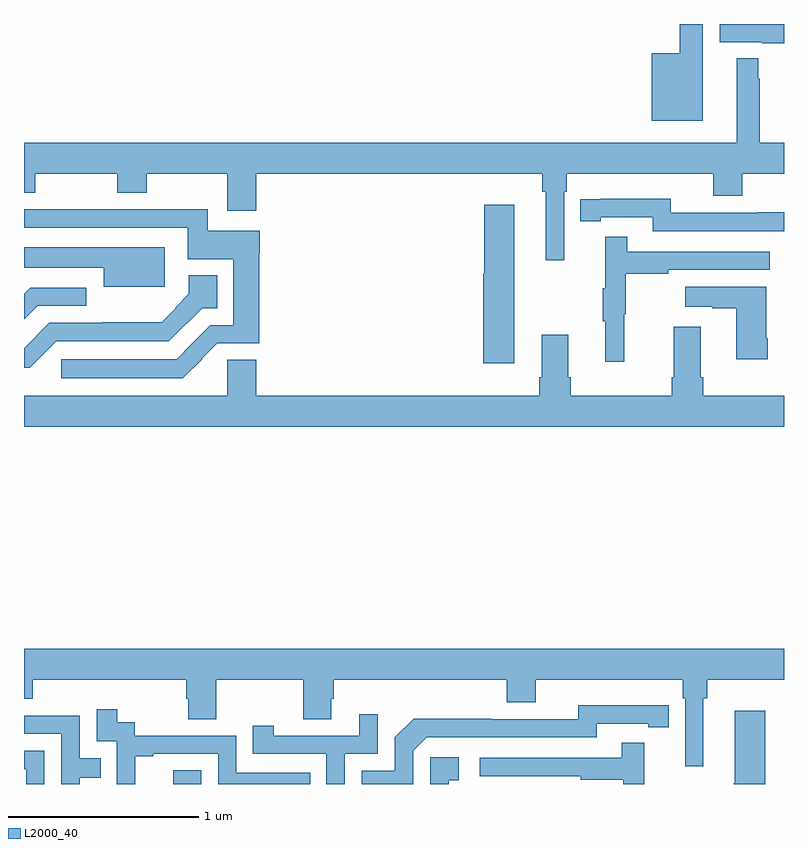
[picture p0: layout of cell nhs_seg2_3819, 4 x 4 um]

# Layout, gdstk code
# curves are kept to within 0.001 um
import gdstk
lib = gdstk.Library(unit=1e-6, precision=1e-09)
def R(c, l, rs):  # rectangles x0, y0, x1, y1
    for r in rs: c.add(gdstk.rectangle(r[:2], r[2:], *l))
def P(c, l, *ps):  # polygons
    for p in ps: c.add(gdstk.Polygon(p, *l))
L2000_40 = (2000, 40)

nhs_seg2_3819 = lib.new_cell('nhs_seg2_3819')
R(nhs_seg2_3819, L2000_40, [(313.785,601.8,313.932,601.873)])
P(nhs_seg2_3819, L2000_40, [(317,605.8),(316.661,605.8),(316.661,605.705),(316.884,605.705),(316.884,605.699),(317,605.699)],
  [(316.573,605.8),(316.452,605.8),(316.452,605.647),(316.304,605.647),(316.304,605.291),(316.573,605.291)],
  [(315.843,604.916),(315.857,604.916),(315.857,605.012),(316.628,605.012),(316.628,604.895),(316.781,604.895),(316.781,605.012),(317,605.012),(317,605.176),(316.873,605.176),(316.873,605.513),(316.865,605.513),(316.865,605.62),(316.751,605.62),(316.751,605.176),(313,605.176),(313,604.913),(313.059,604.913),(313.059,605.012),(313.492,605.012),(313.492,604.913),(313.647,604.913),(313.647,605.012),(314.069,605.012),(314.069,604.818),(314.222,604.818),(314.222,605.012),(315.727,605.012),(315.727,604.916),(315.746,604.916),(315.746,604.557),(315.843,604.557)],
  [(317,604.808),(316.864,604.808),(316.864,604.806),(316.404,604.806),(316.404,604.879),(316.036,604.879),(316.036,604.878),(315.928,604.878),(315.928,604.762),(316.036,604.762),(316.036,604.782),(316.308,604.782),(316.308,604.71),(317,604.71)],
  [(315.58,604.849),(315.422,604.849),(315.422,604.485),(315.416,604.485),(315.416,604.014),(315.58,604.014)],
  [(313.937,604.036),(313.935,604.038),(314.016,604.119),(314.237,604.119),(314.237,604.593),(314.242,604.593),(314.242,604.711),(313.966,604.711),(313.966,604.826),(313.735,604.826),(313.735,604.824),(313.403,604.824),(313.403,604.826),(313.147,604.826),(313.147,604.824),(313,604.824),(313,604.728),(313.862,604.728),(313.862,604.562),(314.102,604.562),(314.102,604.215),(313.979,604.215),(313.882,604.118),(313.884,604.116),(313.803,604.035),(313.197,604.035),(313.197,603.935),(313.836,603.935)],
  [(316.16,604.272),(316.168,604.272),(316.168,604.486),(316.391,604.486),(316.391,604.506),(316.924,604.506),(316.924,604.602),(316.175,604.602),(316.175,604.681),(316.058,604.681),(316.058,604.409),(316.047,604.409),(316.047,604.235),(316.058,604.235),(316.058,604.023),(316.16,604.023)],
  [(313.74,604.624),(313,604.624),(313,604.517),(313.421,604.517),(313.421,604.418),(313.74,604.418)],
  [(313.17,604.131),(313.762,604.131),(313.937,604.304),(314.017,604.304),(314.017,604.477),(313.868,604.477),(313.868,604.379),(313.795,604.306),(313.798,604.303),(313.724,604.229),(313.414,604.229),(313.414,604.227),(313.134,604.227),(313,604.093),(313,603.992),(313.031,603.992)],
  [(316.914,604.147),(316.906,604.147),(316.906,604.417),(316.479,604.417),(316.479,604.313),(316.622,604.313),(316.622,604.303),(316.748,604.303),(316.748,604.035),(316.914,604.035)],
  [(313.072,604.317),(313.327,604.317),(313.327,604.413),(313.032,604.413),(313,604.381),(313,604.245)],
  [(317,603.844),(316.574,603.844),(316.574,603.94),(316.561,603.94),(316.561,604.207),(316.421,604.207),(316.421,603.94),(316.409,603.94),(316.409,603.844),(315.878,603.844),(315.878,603.94),(315.865,603.94),(315.865,604.165),(315.725,604.165),(315.725,603.94),(315.713,603.94),(315.713,603.844),(314.222,603.844),(314.222,604.034),(314.07,604.034),(314.07,603.844),(313,603.844),(313,603.68),(317,603.68)],
  [(316.576,602.252),(316.595,602.252),(316.595,602.348),(317,602.348),(317,602.512),(313,602.512),(313,602.249),(313.046,602.249),(313.046,602.348),(313.853,602.348),(313.853,602.25),(313.865,602.25),(313.865,602.14),(314.013,602.14),(314.013,602.348),(314.47,602.348),(314.47,602.14),(314.617,602.14),(314.617,602.25),(314.63,602.25),(314.63,602.348),(315.542,602.348),(315.542,602.231),(315.694,602.231),(315.694,602.348),(316.466,602.348),(316.466,602.252),(316.479,602.252),(316.479,601.893),(316.576,601.893)],
  [(315.048,601.974),(315.12,602.046),(316.014,602.046),(316.014,602.118),(316.286,602.118),(316.286,602.098),(316.394,602.098),(316.394,602.214),(315.918,602.215),(315.918,602.142),(315.458,602.142),(315.458,602.144),(315.05,602.144),(314.952,602.046),(314.952,601.869),(314.778,601.869),(314.778,601.8),(315.048,601.8)],
  [(313.586,601.947),(313.681,601.947),(313.681,601.959),(314.022,601.959),(314.022,601.8),(314.507,601.8),(314.507,601.86),(314.118,601.86),(314.118,602.055),(313.584,602.055),(313.584,602.124),(313.492,602.124),(313.492,602.194),(313.383,602.194),(313.383,602.025),(313.488,602.025),(313.488,601.8),(313.586,601.8)],
  [(316.901,602.185),(316.742,602.185),(316.742,601.805),(316.735,601.805),(316.735,601.8),(316.901,601.8)],
  [(314.688,601.959),(314.862,601.959),(314.862,602.167),(314.765,602.167),(314.765,602.055),(314.314,602.055),(314.314,602.107),(314.203,602.107),(314.203,601.959),(314.592,601.959),(314.592,601.8),(314.688,601.8)],
  [(313.293,601.834),(313.403,601.834),(313.403,601.935),(313.293,601.935),(313.293,602.16),(313,602.16),(313,602.064),(313.197,602.064),(313.197,601.8),(313.293,601.8)],
  [(316.265,602.017),(316.147,602.017),(316.147,601.938),(315.399,601.938),(315.399,601.842),(315.931,601.842),(315.931,601.822),(316.155,601.822),(316.155,601.8),(316.265,601.8)],
  [(313.107,601.974),(313,601.974),(313,601.878),(313.011,601.878),(313.011,601.8),(313.107,601.8)],
  [(315.236,601.821),(315.289,601.821),(315.289,601.942),(315.138,601.942),(315.138,601.8),(315.236,601.8)])

lib.write_gds('nhs_seg2_3819.gds')
